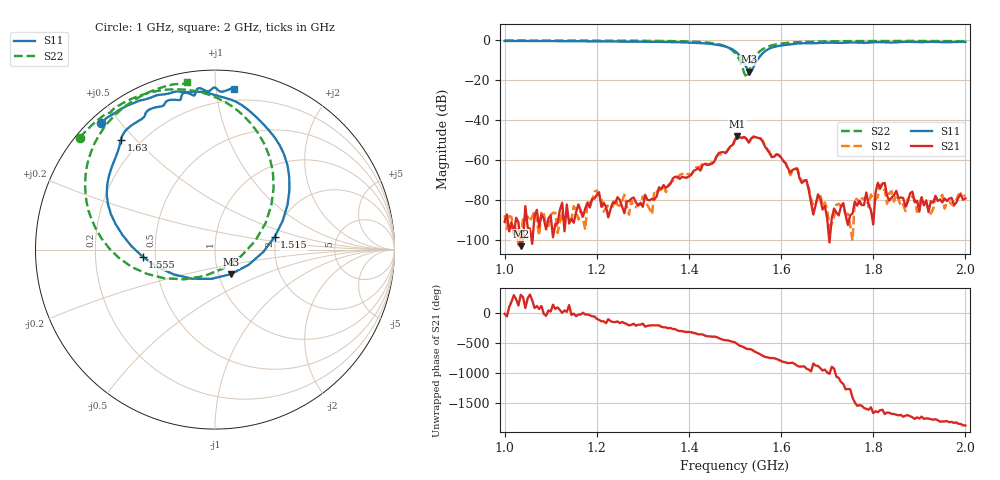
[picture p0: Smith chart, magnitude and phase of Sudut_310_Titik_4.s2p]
# Hz S RI R 50
! CMT, C1220, 16058040, 17.2.0/1
! Date: 14/08/2018 12:33:28
! Data: Format (Calibration Info)
! Freq  S11: Re/Im (F2)  S21: Re/Im (F2)  S12: Re/Im (F2)  S22: Re/Im (F2)
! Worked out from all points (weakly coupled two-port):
!   201 points, 1 GHz to 2 GHz, reference 50 ohm
!   highest |S21| = -47.92 dB at 1.505 GHz (marker M1); lowest = -103.1 dB at 1.035 GHz (marker M2)
!   lowest |S11| = -15.8 dB at 1.53 GHz (marker M3), VSWR 1.39, Z = 57.2 - j16.1 ohm
!   |S11| at or under -10 dB: 1.517 GHz to 1.549 GHz (32.03 MHz wide, 2.09 % of centre)
!   |S22| runs from -18.8 to -0.2 dB; largest |S21 - S12| = 0.00025
!   S11 on the Smith chart (normalised r, x): 1 GHz: 0.03, +0.45; 1.515 GHz: 1.96, +0.31; 1.555 GHz: 0.42, -0.04; 1.63 GHz: 0.13, +0.45; 2 GHz: 0.12, +1.12
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1e9  -0.6332 0.708  2.84e-05 -4.52e-06  1.94e-05 3.68e-05  -0.7533 0.6237
1.035e9  -0.6043 0.733  4.31e-06 -5.54e-06  -1.06e-05 2.01e-06  -0.7296 0.6502
1.17e9  -0.4563 0.8154  3.78e-05 6.69e-06  3.29e-05 -9.4e-06  -0.6172 0.7491
1.2e9  -0.4136 0.8314  -2.05e-06 -0.000134  2.88e-05 -0.000171  -0.5837 0.7622
1.32e9  -0.2133 0.8813  -0.000101 3.74e-05  -2.8e-05 3.4e-05  -0.4309 0.8536
1.325e9  -0.2074 0.8813  -9.59e-05 3.59e-05  -0.000165 5.71e-05  -0.4214 0.8571
1.335e9  -0.1918 0.8796  -0.000193 7.43e-05  -0.000155 7.48e-05  -0.4021 0.8634
1.45e9  0.1922 0.7721  0.000699 -0.000404  0.000737 -0.000482  0.0213 0.8404
1.5e9  0.4148 0.3322  -0.00184 -0.00271  -0.00176 -0.00251  0.327 0.3475
1.505e9  0.4041 0.2493  -0.00356 -0.00187  -0.00331 -0.00188  0.3145 0.2499
1.515e9  0.3322 0.0705  -0.00349 0.00071  -0.00356 0.000652  0.2246 0.0493
1.53e9  0.0879 -0.1371  -0.00148 0.00228  -0.0015 0.00228  -0.0594 -0.1473
1.555e9  -0.4029 -0.0397  0.00283 0.00197  0.00283 0.00209  -0.5354 -0.0466
1.62e9  -0.5341 0.5699  -0.000143 -0.000461  -0.000161 -0.000386  -0.706 0.4971
1.63e9  -0.5244 0.613  -0.000357 -0.000479  -0.000324 -0.000523  -0.6915 0.5421
1.67e9  -0.4069 0.7286  -1.95e-05 -3.88e-05  -7.35e-05 -1.35e-05  -0.6251 0.6698
1.8e9  -0.186 0.8596  -1.8e-05 1.66e-05  -8.71e-05 4.46e-05  -0.4264 0.8472
1.81e9  -0.1743 0.8728  -0.000241 0.000123  -8.91e-05 -8.16e-05  -0.4127 0.8552
1.815e9  -0.165 0.8742  -0.000192 -1.39e-05  -0.000229 7.92e-05  -0.4058 0.8585
1.825e9  -0.142 0.8687  -0.000139 0.000229  -0.000148 0.000107  -0.3919 0.8651
1.835e9  -0.1217 0.8595  -7.54e-05 6.08e-05  -9.63e-05 0.000114  -0.3786 0.872
2e9  0.1067 0.892  3.99e-05 -0.000102  -9.97e-06 -0.00013  -0.1553 0.9313
